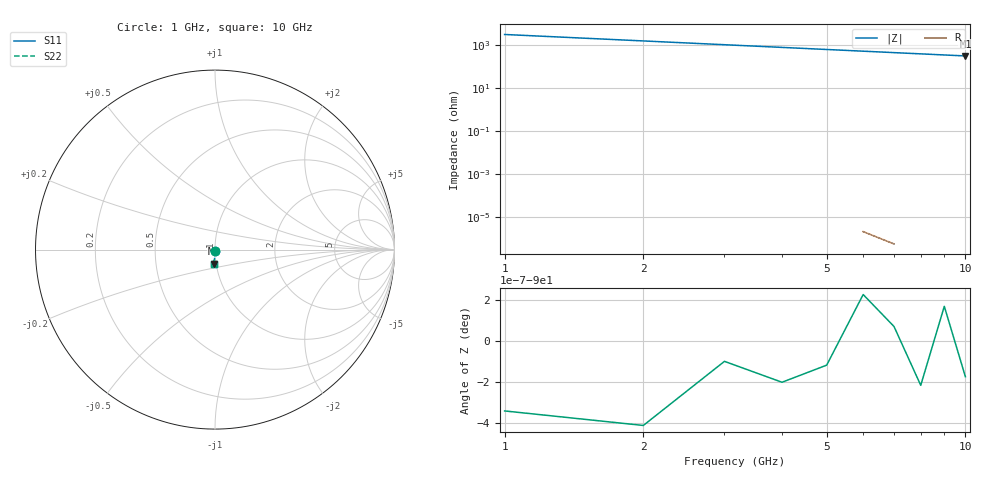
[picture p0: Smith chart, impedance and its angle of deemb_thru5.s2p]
! Created Mon Nov  1 17:15:48 2021
# hz S ma R 50
! 2 Port Network Data from SP1.SP block
! freq  magS11  angS11  magS21  angS21  magS12  angS12  magS22  angS22
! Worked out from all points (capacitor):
!   10 points, 1 GHz to 10 GHz, reference 50 ohm
!   read as one part in shunt: C = 50 fF near 1 GHz
!   lowest |Z| = 318 ohm at 10 GHz (marker M1)
1e9  0.007854 -90.4  1 -0.4  1 -0.4  0.007854 -90.4
2e9  0.01571 -90.9  0.9999 -0.9  0.9999 -0.9  0.01571 -90.9
3e9  0.02356 -91.3  0.9997 -1.3  0.9997 -1.3  0.02356 -91.3
4e9  0.0314 -91.8  0.9995 -1.8  0.9995 -1.8  0.0314 -91.8
5e9  0.03924 -92.2  0.9992 -2.2  0.9992 -2.2  0.03924 -92.2
6e9  0.04707 -92.7  0.9989 -2.7  0.9989 -2.7  0.04707 -92.7
7e9  0.05489 -93.1  0.9985 -3.1  0.9985 -3.1  0.05489 -93.1
8e9  0.06271 -93.6  0.998 -3.6  0.998 -3.6  0.06271 -93.6
9e9  0.07051 -94.0  0.9975 -4.0  0.9975 -4.0  0.07051 -94.0
1e10  0.0783 -94.5  0.9969 -4.5  0.9969 -4.5  0.0783 -94.5
